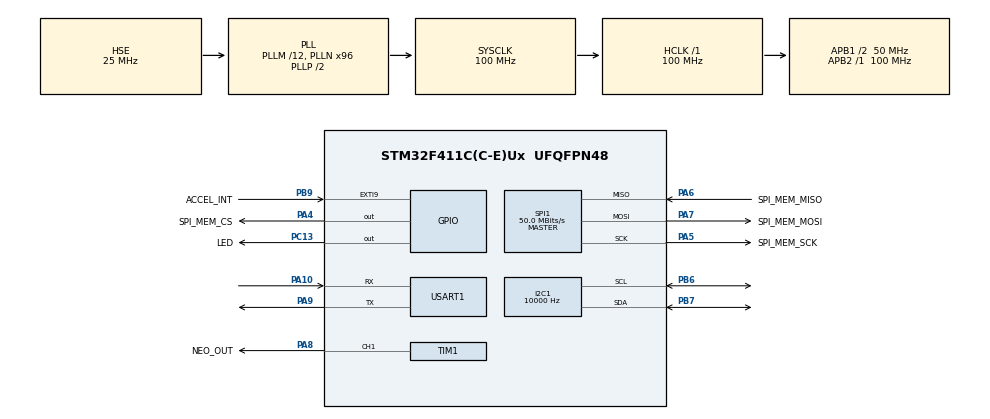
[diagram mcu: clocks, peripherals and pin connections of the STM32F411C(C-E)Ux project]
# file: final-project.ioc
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Dma.Request0=TIM1_CH1
Dma.TIM1_CH1.0.Direction=DMA_MEMORY_TO_PERIPH
Dma.TIM1_CH1.0.FIFOMode=DMA_FIFOMODE_DISABLE
Dma.TIM1_CH1.0.Instance=DMA2_Stream1
Dma.TIM1_CH1.0.MemDataAlignment=DMA_MDATAALIGN_HALFWORD
Dma.TIM1_CH1.0.MemInc=DMA_MINC_ENABLE
Dma.TIM1_CH1.0.Mode=DMA_CIRCULAR
Dma.TIM1_CH1.0.PeriphDataAlignment=DMA_PDATAALIGN_HALFWORD
Dma.TIM1_CH1.0.PeriphInc=DMA_PINC_DISABLE
Dma.TIM1_CH1.0.Priority=DMA_PRIORITY_LOW
I2C1.ClockSpeed=10000
Mcu.Family=STM32F4
Mcu.Name=STM32F411C(C-E)Ux
Mcu.Package=UFQFPN48
NVIC.DMA2_Stream1_IRQn=true\:0\:0\:false\:false\:true\:false\:true\:true
NVIC.EXTI9_5_IRQn=true\:0\:0\:false\:false\:true\:true\:true\:true
NVIC.PriorityGroup=NVIC_PRIORITYGROUP_4
NVIC.TIM1_BRK_TIM9_IRQn=true\:0\:0\:false\:false\:true\:true\:true\:true
NVIC.USART1_IRQn=true\:0\:0\:false\:false\:true\:true\:true\:true
PA10.Mode=Asynchronous
PA10.Signal=USART1_RX
PA13.Mode=Serial_Wire
PA13.Signal=SYS_JTMS-SWDIO
PA14.Mode=Serial_Wire
PA14.Signal=SYS_JTCK-SWCLK
PA4.GPIO_Label=SPI_MEM_CS
PA4.Signal=GPIO_Output
PA5.GPIO_Label=SPI_MEM_SCK
PA5.Mode=Full_Duplex_Master
PA5.Signal=SPI1_SCK
PA6.GPIO_Label=SPI_MEM_MISO
PA6.Mode=Full_Duplex_Master
PA6.Signal=SPI1_MISO
PA7.GPIO_Label=SPI_MEM_MOSI
PA7.Mode=Full_Duplex_Master
PA7.Signal=SPI1_MOSI
PA8.GPIO_Label=NEO_OUT
PA8.Signal=S_TIM1_CH1
PA9.Mode=Asynchronous
PA9.Signal=USART1_TX
PB6.Mode=I2C
PB6.Signal=I2C1_SCL
PB7.Mode=I2C
PB7.Signal=I2C1_SDA
PB9.GPIO_Label=ACCEL_INT
PB9.GPIO_ModeDefaultEXTI=GPIO_MODE_IT_FALLING
PB9.GPIO_PuPd=GPIO_PULLUP
PB9.Signal=GPXTI9
PC13-ANTI_TAMP.GPIO_Label=LED
PC13-ANTI_TAMP.GPIO_PuPd=GPIO_NOPULL
PC13-ANTI_TAMP.Signal=GPIO_Output
PC14-OSC32_IN.Mode=LSE-External-Oscillator
PC14-OSC32_IN.Signal=RCC_OSC32_IN
PC15-OSC32_OUT.Mode=LSE-External-Oscillator
PC15-OSC32_OUT.Signal=RCC_OSC32_OUT
PH0\ -\ OSC_IN.Mode=HSE-External-Oscillator
PH0\ -\ OSC_IN.Signal=RCC_OSC_IN
PH1\ -\ OSC_OUT.Mode=HSE-External-Oscillator
PH1\ -\ OSC_OUT.Signal=RCC_OSC_OUT
ProjectManager.HeapSize=0x200
ProjectManager.StackSize=0x400
ProjectManager.TargetToolchain=STM32CubeIDE
RCC.48MHZClocksFreq_Value=50000000
RCC.AHBFreq_Value=100000000
RCC.APB1CLKDivider=RCC_HCLK_DIV2
RCC.APB1Freq_Value=50000000
RCC.APB1TimFreq_Value=100000000
RCC.APB2Freq_Value=100000000
RCC.APB2TimFreq_Value=100000000
RCC.CortexFreq_Value=100000000
RCC.HCLKFreq_Value=100000000
RCC.HSE_VALUE=25000000
RCC.HSI_VALUE=16000000
RCC.PLLM=12
RCC.PLLN=96
RCC.PLLSourceVirtual=RCC_PLLSOURCE_HSE
RCC.RCC_RTC_Clock_Source=RCC_RTCCLKSOURCE_LSE
RCC.RCC_RTC_Clock_SourceVirtual=RCC_RTCCLKSOURCE_LSE
RCC.SYSCLKFreq_VALUE=100000000
RCC.SYSCLKSource=RCC_SYSCLKSOURCE_PLLCLK
RCC.VCOOutputFreq_Value=200000000
SH.S_TIM1_CH1.0=TIM1_CH1,PWM Generation1 CH1
SPI1.CalculateBaudRate=50.0 MBits/s
SPI1.Direction=SPI_DIRECTION_2LINES
SPI1.Mode=SPI_MODE_MASTER
SPI1.VirtualType=VM_MASTER
TIM1.Channel-PWM\ Generation1\ CH1=TIM_CHANNEL_1
TIM1.Period=125-1
TIM9.Period=40000-1
TIM9.Prescaler=10000-1
USART1.VirtualMode=VM_ASYNC
VP_CRC_VS_CRC.Mode=CRC_Activate
VP_RTC_VS_RTC_Activate.Mode=RTC_Enabled
VP_TIM1_VS_ClockSourceINT.Mode=Internal
VP_TIM9_VS_ClockSourceINT.Mode=Internal
board=custom

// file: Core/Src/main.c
/* USER CODE BEGIN Header */
/**
  ******************************************************************************
  * @file           : main.c
  * @brief          : Main program body
  ******************************************************************************
  * @attention
  *
  * Copyright (c) 2022 STMicroelectronics.
  * All rights reserved.
  *
  * This software is licensed under terms that can be found in the LICENSE file
  * in the root directory of this software component.
  * If no LICENSE file comes with this software, it is provided AS-IS.
  *
  ******************************************************************************
  */
/* USER CODE END Header */
#include "main.h"
#include "crc.h"
#include "dma.h"
#include "i2c.h"
#include "rtc.h"
#include "spi.h"
#include "tim.h"
#include "usart.h"
#include "gpio.h"

/* USER CODE BEGIN Includes */
#include "stdio.h"
#include "string.h"
#include "cBuffer.h"
#include "console.h"
#include "ws2812.h"
#include "mpu6050.h"
#include "ledController.h"
#include "orientation.h"
#include "systemConfig.h"
#include "StateController.h"
#include "rtcController.h"
#include "dataStore.h"
/* USER CODE END Includes */

void SystemClock_Config(void);

int main(void)
{

  /* MCU Configuration--------------------------------------------------------*/

  /* Reset of all peripherals, Initializes the Flash interface and the Systick. */
  HAL_Init();

  /* Configure the system clock */
  SystemClock_Config();

  /* Initialize all configured peripherals */
  MX_GPIO_Init();
  MX_RTC_Init();
  MX_DMA_Init();
  MX_I2C1_Init();
  MX_TIM1_Init();
  MX_USART1_UART_Init();
  MX_SPI1_Init();
  MX_CRC_Init();
  MX_TIM9_Init();
  /* USER CODE BEGIN 2 */

  ledAllOff();
  ledRender();
  sysConfigInit();
  systemConfig_t * config = systemConfigGet();
  dodecaItems_t *dodecaItems = &config->configItems.dodecaConfig;

  dodecaInit(dodecaItems);

/*  __HAL_FLASH_CLEAR_FLAG(FLASH_FLAG_EOP);
  __HAL_FLASH_CLEAR_FLAG(FLASH_FLAG_OPERR);
  __HAL_FLASH_CLEAR_FLAG(FLASH_FLAG_WRPERR);
  __HAL_FLASH_CLEAR_FLAG(FLASH_FLAG_PGAERR);
  __HAL_FLASH_CLEAR_FLAG(FLASH_FLAG_PGPERR);
  __HAL_FLASH_CLEAR_FLAG(FLASH_FLAG_PGSERR);
*/

  ConsoleInit();

  if (SYS_CONFIG_BAD_DATA == sysConfigRead())
  {
	  ConsoleSendLine("*** CONFIG INVALID ***\nResetting to default");
	  dodecaReset();
	  sysConfigSave();
  }

  HAL_Delay(100);
  while(1 == MPU6050_Init(&hi2c1) )
  {
	  ConsoleSendString("** ERROR Initialising MNP6050!\n");
	  hi2c1.Instance->CR1 &= ~(I2C_CR1_PE);

	  HAL_I2C_MspDeInit(&hi2c1);
	  hi2c1.Instance->SR2 &=~(I2C_SR2_BUSY);

	  GPIO_InitTypeDef GPIO_Init;
	  GPIO_Init.Pin = GPIO_PIN_7;
	  GPIO_Init.Mode = GPIO_MODE_OUTPUT_PP;
	  GPIO_Init.Pull = GPIO_PULLUP;
	  GPIO_Init.Speed = GPIO_SPEED_FREQ_LOW;
	  HAL_GPIO_Init(GPIOB, &GPIO_Init);
	  HAL_GPIO_WritePin(GPIOB, GPIO_PIN_7, GPIO_PIN_SET);
	  HAL_GPIO_WritePin(GPIOB, GPIO_PIN_7, GPIO_PIN_RESET);
	  HAL_Delay(50);
	  HAL_GPIO_DeInit(GPIOB, GPIO_PIN_7);
	  MX_I2C1_Init();

	  //__HAL_RCC_GPIOB_CLK_ENABLE();
	  HAL_Delay(100);

  }
  // run the Accel To get initial angle ready. Seems to need to be run a numerb of times for the karman angle to settle???

  detectFaceUp(); // Just to start the cals off
  dataStoreInit();
  ConsoleSendString("MPU6050 Initialised\n");

  //HAL_TIM_Base_Start_IT(&htim9);
  ConsolePrintPrompt();

  RTC_DateTypeDef date;
    HAL_RTC_GetDate(&hrtc, &date,RTC_FORMAT_BIN);
    if (date.Year < 22)
    {
    	ConsoleSendLine("**** DATE & TIME NOT SET ******\n\n");
    	stateContollerInit(STATE_CONFIG);
    }
    else
  	  stateContollerInit(STATE_BEGIN);

    ledAllOff();

  /* USER CODE END 2 */

  /* Infinite loop */
  /* USER CODE BEGIN WHILE */
  while (1)
  {
	  ConsoleProcess();
	  stateController();
/*
	  MPU6050_t data;
	uint8_t face;
	char msg[30];
	for (uint8_t cnt=0;cnt<20;cnt++)
	{
		MPU6050_Read_All(&I2C_MPU6050, &data);
	}

	face = detectFace(data.KalmanAngleX, data.KalmanAngleY);
	if (255 == face)
	{
		ledAllOff();
	}

	else if (face != lastFace)
	{
		lastFace = face;
		sprintf(msg,"Angle X: %f Y: %f",data.KalmanAngleX, data.KalmanAngleY);
		ConsoleSendLine(msg);

		uint32_t rgb_color = hsl_to_rgb((face*30), 255, 127);

		ledAllOff();
		ledSetFaceColour(face, (rgb_color >> 16) & 0xFF, (rgb_color >> 8) & 0xFF, rgb_color & 0xFF);
		ledRender();

		sprintf(msg,"Detected face %i is up",face);
		ConsoleSendLine(msg);
	}

	*/
	 HAL_Delay(200);

    /* USER CODE END WHILE */

  }
}

void SystemClock_Config(void)
{
  RCC_OscInitTypeDef RCC_OscInitStruct = {0};
  RCC_ClkInitTypeDef RCC_ClkInitStruct = {0};

  /** Configure the main internal regulator output voltage
  */
  __HAL_RCC_PWR_CLK_ENABLE();
  __HAL_PWR_VOLTAGESCALING_CONFIG(PWR_REGULATOR_VOLTAGE_SCALE1);

  /** Initializes the RCC Oscillators according to the specified parameters
  * in the RCC_OscInitTypeDef structure.
  */
  RCC_OscInitStruct.OscillatorType = RCC_OSCILLATORTYPE_HSE|RCC_OSCILLATORTYPE_LSE;
  RCC_OscInitStruct.HSEState = RCC_HSE_ON;
  RCC_OscInitStruct.LSEState = RCC_LSE_ON;
  RCC_OscInitStruct.PLL.PLLState = RCC_PLL_ON;
  RCC_OscInitStruct.PLL.PLLSource = RCC_PLLSOURCE_HSE;
  RCC_OscInitStruct.PLL.PLLM = 12;
  RCC_OscInitStruct.PLL.PLLN = 96;
  RCC_OscInitStruct.PLL.PLLP = RCC_PLLP_DIV2;
  RCC_OscInitStruct.PLL.PLLQ = 4;
  if (HAL_RCC_OscConfig(&RCC_OscInitStruct) != HAL_OK)
  {
    Error_Handler();
  }

  /** Initializes the CPU, AHB and APB buses clocks
  */
  RCC_ClkInitStruct.ClockType = RCC_CLOCKTYPE_HCLK|RCC_CLOCKTYPE_SYSCLK
                              |RCC_CLOCKTYPE_PCLK1|RCC_CLOCKTYPE_PCLK2;
  RCC_ClkInitStruct.SYSCLKSource = RCC_SYSCLKSOURCE_PLLCLK;
  RCC_ClkInitStruct.AHBCLKDivider = RCC_SYSCLK_DIV1;
  RCC_ClkInitStruct.APB1CLKDivider = RCC_HCLK_DIV2;
  RCC_ClkInitStruct.APB2CLKDivider = RCC_HCLK_DIV1;

  if (HAL_RCC_ClockConfig(&RCC_ClkInitStruct, FLASH_LATENCY_3) != HAL_OK)
  {
    Error_Handler();
  }
}

void Error_Handler(void)
{
  __disable_irq();
  while (1)
  {
  }
}
